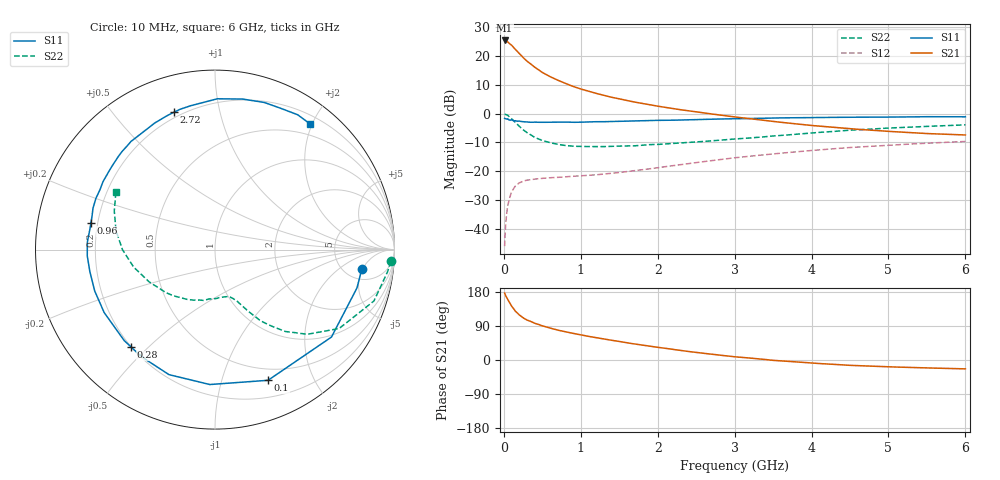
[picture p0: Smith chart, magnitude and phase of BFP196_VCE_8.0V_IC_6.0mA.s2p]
! Infineon Technologies  Discrete & RF Semiconductors
! BFP196
! VCE = 8.0 V,  IC = 6.0mA
! Common Emitter S-Parameters:  Jan 2016
# GHz  S  MA  R  50
!  f  S11  S21  S12  S22
! GHz  MAG  ANG  MAG  ANG  MAG  ANG  MAG  ANG
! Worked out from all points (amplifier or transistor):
!   210 points, 10 MHz to 6 GHz, reference 50 ohm
!   highest |S21| = 25.3 dB at 10 MHz (marker M1)
!   |S21| within 3 dB of that: start of sweep to 146.7 MHz
!   unconditionally stable (mu >= 1): 1.102 GHz to 3.318 GHz
!   at 185 MHz: K = 0.21, MSG = 22.7 dB, |S12| = -24.3 dB
!   at 1.52 GHz: K = 1.16, MAG = 10.2 dB, |S12| = -20.3 dB
!   at 6 GHz: K = 0.97, MSG = 1.1 dB, |S12| = -9.7 dB
!   S11 on the Smith chart (normalised r, x): 10 MHz: 7.02, -4.85; 100 MHz: 0.37, -1.42; 280 MHz: 0.20, -0.44; 960 MHz: 0.17, +0.10; 2.72 GHz: 0.17, +0.73; 6 GHz: 0.32, +1.97
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0.01  0.8248 -7.7  18.33 176.7  0.0051 86.8  0.9821 -3.8
0.02  0.8194 -15.1  18.04 171.2  0.0103 82.9  0.9695 -7.3
0.05  0.8114 -36.9  17.34 159.4  0.0253 71.3  0.9307 -17.9
0.1  0.7859 -67.9  15.23 142.4  0.0443 57.2  0.8197 -32.4
0.15  0.7523 -92.2  12.84 128.6  0.0559 46.5  0.6983 -42.5
0.2  0.7423 -110.2  10.93 119.0  0.0633 39.6  0.602 -49.3
0.24  0.724 -121.5  9.594 113.0  0.0669 35.4  0.5399 -52.9
0.28  0.7163 -130.7  8.543 108.0  0.0695 32.5  0.491 -56.0
0.3  0.7161 -134.9  8.07 105.5  0.0706 31.3  0.4689 -57.5
0.4  0.7102 -150.4  6.341 97.0  0.0736 27.6  0.3882 -61.8
0.5  0.7088 -161.0  5.126 90.1  0.0758 26.0  0.3415 -64.5
0.6  0.708 -170.0  4.349 84.1  0.0777 25.1  0.313 -66.8
0.7  0.7125 -177.2  3.77 78.8  0.0787 25.2  0.2936 -69.2
0.96  0.7067 167.9  2.767 67.9  0.083 27.4  0.2708 -75.2
1.02  0.7099 164.9  2.609 65.5  0.0839 28.0  0.2694 -76.7
1.4  0.7297 148.9  1.911 52.1  0.0924 32.8  0.2718 -87.2
2.02  0.763 127.3  1.328 33.0  0.1166 38.8  0.2933 -106.6
2.72  0.799 106.6  0.976 14.9  0.1545 39.2  0.3389 -129.4
3.1  0.816 97.5  0.843 6.9  0.1775 36.7  0.37 -141.9
4.1  0.8537 78.0  0.606 -9.3  0.2354 27.4  0.4723 -170.5
5.1  0.8701 63.6  0.484 -18.6  0.2883 15.6  0.5679 167.1
6  0.8781 52.9  0.426 -23.4  0.3289 4.3  0.638 149.9
